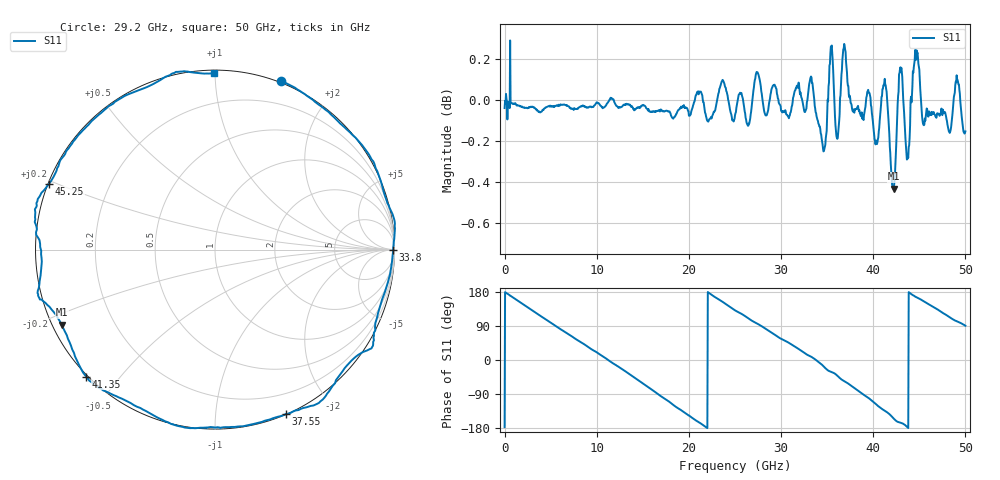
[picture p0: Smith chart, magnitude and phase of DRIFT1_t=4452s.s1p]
!Created with skrf (http://scikit-rf.org).
# Hz S RI R 50.0
!freq ReS11 ImS11
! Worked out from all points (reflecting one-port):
!   1001 points, 300 kHz to 50 GHz, reference 50 ohm
!   lowest |S11| = -0.4 dB at 42.2 GHz (marker M1), VSWR 40.25, Z = 1.31 - j11.5 ohm
!   phase of S11 starts at -177 deg and turns -812 deg over the sweep
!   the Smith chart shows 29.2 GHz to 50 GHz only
!   S11 on the Smith chart (normalised r, x): 29.2 GHz: -0.01, +1.47; 33.8 GHz: open; 37.55 GHz: 0.00, -1.52; 41.35 GHz: -0.00, -0.41; 45.25 GHz: 0.00, +0.19; 50 GHz: 0.02, +0.99
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300000  -0.9943 -0.048
1.60029e9  -0.8929 0.4429
3.35028e9  -0.5711 0.8149
6.250262e9  0.1976 0.9776
9.500243e9  0.8864 0.4546
1.115023e10  0.9978 0.0263
1.250022e10  0.935 -0.3425
1.420021e10  0.6638 -0.7409
1.580021e10  0.2513 -0.961
1.73002e10  -0.1885 -0.9756
1.875019e10  -0.5874 -0.8013
2.160017e10  -0.9906 -0.1269
2.345016e10  -0.9257 0.4004
2.500015e10  -0.6515 0.7473
2.730014e10  -0.1293 1.007
2.920012e10  0.368 0.9389
3.125011e10  0.773 0.6324
3.38001e10  0.9927 -0.00397
3.560009e10  0.8572 -0.5572
3.750008e10  0.4069 -0.9145
3.755007e10  0.394 -0.9173
3.945006e10  -0.1685 -0.9914
4.135005e10  -0.7177 -0.7082
4.220005e10  -0.855 -0.4175
4.375004e10  -0.9691 -0.0253
4.525003e10  -0.9242 0.368
4.770001e10  -0.5263 0.8417
5e10  -0.00823 0.9825
